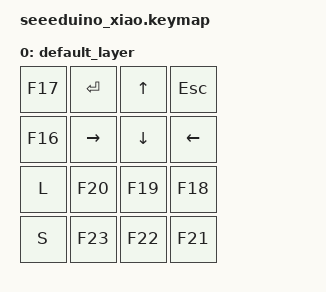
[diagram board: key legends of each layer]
#include <behaviors.dtsi>
#include <dt-bindings/zmk/keys.h>

/ {
    keymap {
        compatible = "zmk,keymap";

        default_layer {
            bindings = <
&kp F17  &kp ENTER  &kp UP_ARROW  &kp ESCAPE
&kp F16  &kp RIGHT  &kp DOWN      &kp LEFT
&kp L    &kp F20    &kp F19       &kp F18
&kp S    &kp F23    &kp F22       &kp F21
            >;
        };
    };
};
